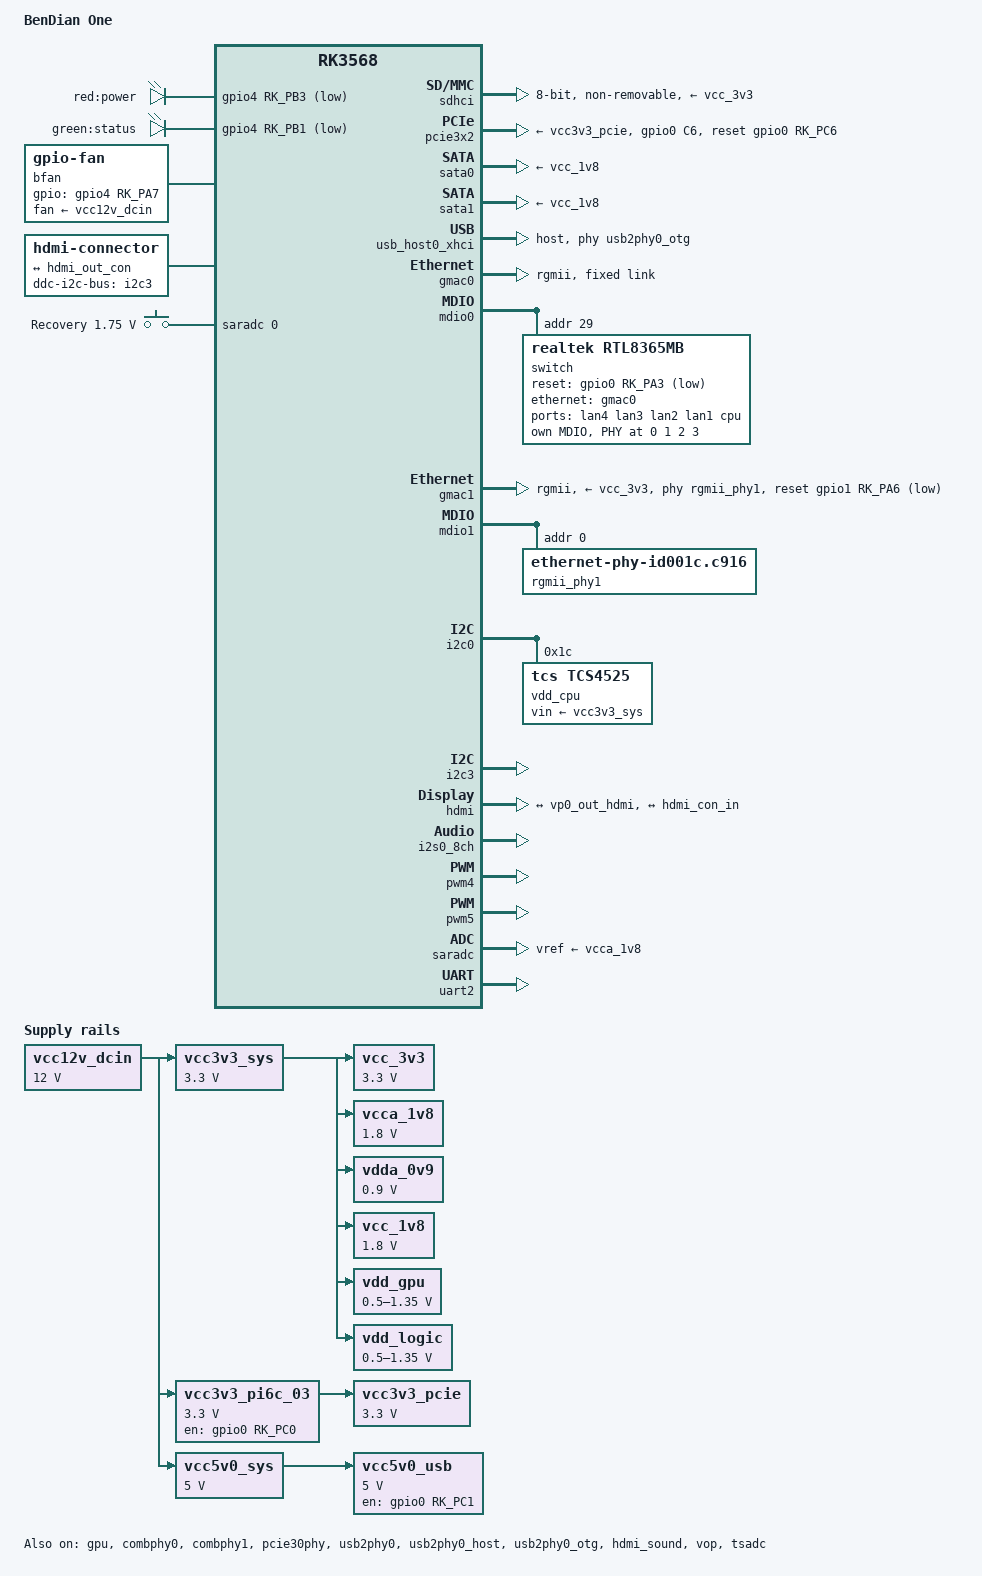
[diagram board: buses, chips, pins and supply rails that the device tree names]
// SPDX-License-Identifier: (GPL-2.0+ OR MIT)
/*
 * Ported to Linux 6.18 kernel.
 * rk3568-bd-one.k6.18v1.1-2026.09.26-cnb@srv.wang
 *
 * arch/arm64/boot/dts/rockchip/Makefile
 *   dtb-$(CONFIG_ARCH_ROCKCHIP) += rk3568-bd-one.dtb
 *
 *  GPU、SATA1、SATA2、USB、NVME、GMAC0、GMAC1、FAN、LED、温度传感器等功能已测试正常。
 *  vpu 禁用，HDMI无法正常使用。
 */

/dts-v1/;

#include <dt-bindings/gpio/gpio.h>
#include <dt-bindings/input/input.h>
#include <dt-bindings/leds/common.h>
#include <dt-bindings/pinctrl/rockchip.h>
#include <dt-bindings/soc/rockchip,vop2.h>
#include "rk3568.dtsi"
#include "rk3568-crypto.dtsi"

/ {
	model = "BenDian One";
	compatible = "bendian,bd-one", "rockchip,rk3568";

	aliases {
		ethernet0 = &gmac0;
		ethernet1 = &gmac1;
		mmc0 = &sdhci;
		led-boot     = &led_status;
		led-failsafe = &led_power;
		led-running  = &led_status;
		led-upgrade  = &led_power;
	};

	chosen {
		stdout-path = "serial2:1500000n8";
	};

	/* ---------------------------------------------------------------- */
	/*  Memory-reserved: CMA pool                                       */
	/* ---------------------------------------------------------------- */
	reserved-memory {
		#address-cells = <2>;
		#size-cells = <2>;
		ranges;

		cma: linux,cma {
			compatible = "shared-dma-pool";
			reusable;
			size = <0x0 0x10000000>;
			linux,cma-default;
		};
	};

	/* ---------------------------------------------------------------- */
	/*  LEDs                                                            */
	/* ---------------------------------------------------------------- */
	gpio-leds {
		compatible = "gpio-leds";
		pinctrl-names = "default";
		pinctrl-0 = <&power_led_pin &status_led_pin>;

		led_power: led-0 {
			label = "red:power";
			gpios = <&gpio4 RK_PB3 GPIO_ACTIVE_LOW>;
		};

		led_status: led-1 {
			label = "green:status";
			gpios = <&gpio4 RK_PB1 GPIO_ACTIVE_LOW>;
			linux,default-trigger = "heartbeat";
		};
	};

	/* ---------------------------------------------------------------- */
	/*  GPIO Fan 主板风扇 需要启用编译config：CONFIG_SENSORS_GPIO_FAN=y   */
	/* ---------------------------------------------------------------- */
	bfan: gpio-fan {
		compatible = "gpio-fan";
		fan-supply = <&vcc12v_dcin>; 
		gpios = <&gpio4 RK_PA7 GPIO_ACTIVE_HIGH>;
		gpio-fan,speed-map = <0 0 7500 1>;
		pinctrl-names = "default";
		pinctrl-0 = <&fan_pins>;
		#cooling-cells = <2>;
	};

	/* ---------------------------------------------------------------- */
	/*  HDMI connector                                                  */
	/* ---------------------------------------------------------------- */
	hdmi-con {
		compatible = "hdmi-connector";
		label = "hdmi";
		type = "a";
		status = "okay";
		ddc-i2c-bus = <&i2c3>;	/* DDC 走 I2C3，需要板子原理图确认 */

		port {
			hdmi_con_in: endpoint {
				remote-endpoint = <&hdmi_out_con>;
			};
		};
	};

	/* ---------------------------------------------------------------- */
	/*  ADC recovery button                                             */
	/* ---------------------------------------------------------------  */
	adc-keys {
		compatible = "adc-keys";
		io-channels = <&saradc 0>;
		io-channel-names = "buttons";
		keyup-threshold-microvolt = <1800000>;
		poll-interval = <100>;

		button-recovery {
			label = "Recovery";
			linux,code = <KEY_VENDOR>;
			press-threshold-microvolt = <1750000>;
		};
	};

	/* --------------------------------------------------------------- */
	/*  Power supply rails                                             */
	/* --------------------------------------------------------------- */
	vcc12v_dcin: vcc12v-dcin {
		compatible = "regulator-fixed";
		regulator-name = "vcc12v_dcin";
		regulator-always-on;
		regulator-boot-on;
		regulator-min-microvolt = <12000000>;
		regulator-max-microvolt = <12000000>;
	};

	vcc3v3_sys: vcc3v3-sys {
		compatible = "regulator-fixed";
		regulator-name = "vcc3v3_sys";
		regulator-always-on;
		regulator-boot-on;
		regulator-min-microvolt = <3300000>;
		regulator-max-microvolt = <3300000>;
		vin-supply = <&vcc12v_dcin>;
	};

	/* PCIe 3.0 SSD power:
	* GPIO0_C0 enable → vcc3v3_pi6c_03 → vcc3v3_pcie
	*/
	vcc3v3_pi6c_03: vcc3v3-pi6c-03 {
		compatible = "regulator-fixed";
		regulator-name = "vcc3v3_pi6c_03";
		enable-active-high;
		gpios = <&gpio0 RK_PC0 GPIO_ACTIVE_HIGH>;
		pinctrl-names = "default";
		pinctrl-0 = <&ssd_pwr_en>;
		regulator-min-microvolt = <3300000>;
		regulator-max-microvolt = <3300000>;
		vin-supply = <&vcc12v_dcin>;
		 /* “启动”时间等待 2000µs */
		regulator-enable-ramp-delay = <2000>;
	};

	vcc3v3_pcie: vcc3v3-pcie {
		compatible = "regulator-fixed";
		regulator-name = "vcc3v3_pcie";
		regulator-always-on;
		regulator-boot-on;
		regulator-min-microvolt = <3300000>;
		regulator-max-microvolt = <3300000>;
		vin-supply = <&vcc3v3_pi6c_03>;
	};

	vcc5v0_sys: vcc5v0-sys {
		compatible = "regulator-fixed";
		regulator-name = "vcc5v0_sys";
		regulator-always-on;
		regulator-boot-on;
		regulator-min-microvolt = <5000000>;
		regulator-max-microvolt = <5000000>;
		vin-supply = <&vcc12v_dcin>;
	};

	/* 5V USB power controlled by GPIO0_C1 */
	vcc5v0_usb: vcc5v0-usb {
		compatible = "regulator-fixed";
		regulator-name = "vcc5v0_usb";
		enable-active-high;
		gpios = <&gpio0 RK_PC1 GPIO_ACTIVE_HIGH>;
		pinctrl-names = "default";
		pinctrl-0 = <&usb_pwr_en>;
		regulator-min-microvolt = <5000000>;
		regulator-max-microvolt = <5000000>;
		vin-supply = <&vcc5v0_sys>;
	};

	vcc_3v3: vcc-3v3 {
		compatible = "regulator-fixed";
		regulator-name = "vcc_3v3";
		regulator-always-on;
		regulator-boot-on;
		regulator-min-microvolt = <3300000>;
		regulator-max-microvolt = <3300000>;
		vin-supply = <&vcc3v3_sys>;
	};

	vcca_1v8: vcca-1v8 {
		compatible = "regulator-fixed";
		regulator-name = "vcca_1v8";
		regulator-always-on;
		regulator-boot-on;
		regulator-min-microvolt = <1800000>;
		regulator-max-microvolt = <1800000>;
		vin-supply = <&vcc3v3_sys>;
	};

	vdda_0v9: vdda-0v9 {
		compatible = "regulator-fixed";
		regulator-name = "vdda_0v9";
		regulator-always-on;
		regulator-boot-on;
		regulator-min-microvolt = <900000>;
		regulator-max-microvolt = <900000>;
		vin-supply = <&vcc3v3_sys>;
	};

	/* 1.8V IO rail — board fixed regulator (NOT RK809 DCDC) */
	vcc_1v8: vcc-1v8 {
		compatible = "regulator-fixed";
		regulator-name = "vcc_1v8";
		regulator-always-on;
		regulator-boot-on;
		regulator-min-microvolt = <1800000>;
		regulator-max-microvolt = <1800000>;
		vin-supply = <&vcc3v3_sys>;
	};


	/* GPU core — PWM regulator on PWM4 (per factory DTS, NOT RK809) */
	vdd_gpu: vdd-gpu {
		compatible = "pwm-regulator";
		pwms = <&pwm4 0 5000 1>;
		pwm-supply = <&vcc3v3_sys>;
		regulator-name = "vdd_gpu";
		// regulator-always-on;
		// regulator-boot-on;
		regulator-init-microvolt = <900000>;
		regulator-min-microvolt = <500000>;
		regulator-max-microvolt = <1350000>;
		regulator-ramp-delay = <6001>;
		regulator-settling-time-up-us = <250>;
	};

	/* Logic core — PWM regulator on PWM5 (per factory DTS, NOT RK809) */
	vdd_logic: vdd-logic {
		compatible = "pwm-regulator";
		pwms = <&pwm5 0 5000 1>;
		pwm-supply = <&vcc3v3_sys>;
		regulator-name = "vdd_logic";
		// regulator-always-on;
		// regulator-boot-on;
		regulator-init-microvolt = <900000>;
		regulator-min-microvolt = <500000>;
		regulator-max-microvolt = <1350000>;
		regulator-ramp-delay = <6001>;
		regulator-settling-time-up-us = <250>;
	};
};

/* ====================================================================== */
/*  CPU / GPU power domains                                               */
/* ====================================================================== */
&cpu0 {
	cpu-supply = <&vdd_cpu>;
};

&cpu1 {
	cpu-supply = <&vdd_cpu>;
};

&cpu2 {
	cpu-supply = <&vdd_cpu>;
};

&cpu3 {
	cpu-supply = <&vdd_cpu>;
};

&gpu {
	// /delete-property/ operating-points-v2;
	mali-supply = <&vdd_gpu>;
	status = "okay";
};

/* ====================================================================== */
/*  eMMC(fe310000) -OK  use hs200 mode                                    */
/* ====================================================================== */
&sdhci {
	bus-width = <8>;
	max-frequency = <200000000>;
	non-removable;
	pinctrl-names = "default";
	pinctrl-0 = <&emmc_bus8 &emmc_clk &emmc_cmd>;
	mmc-hs200-1_8v;
	vmmc-supply = <&vcc_3v3>;
	vqmmc-supply = <&vcc_1v8>;
	status = "okay";
};

/* ====================================================================== */
/*  Combo PHYs                                                            */
/* ====================================================================== */
/* combphy0 (fe820000) —  sata0 和 usb_host0_xhci 共用                    */
&combphy0 {
	status = "okay";
};

/* combphy1 (fe830000) — sata1 使用 (PHY_TYPE_SATA) */
&combphy1 {
	status = "okay";
};

/* ====================================================================== */
/*  PCIe                                                                  */
/* ====================================================================== */
/* combphy2 (fe840000) → PCIe 2.0 (无硬件) */
// &combphy2 {
// 	status = "okay";
// };

/* PCIe 2.0 x1(fe260000) -原厂启用，但无对应硬件接口
 * 启用报：rockchip-dw-pcie 3c0000000.pcie: Phy link never came up  */
// &pcie2x1 {
// 	status = "okay";
// 	pinctrl-names = "default";
// 	pinctrl-0 = <&pcie20_reset_pin>;
// 	reset-gpios = <&gpio3 RK_PC1 GPIO_ACTIVE_HIGH>;
// 	vpcie3v3-supply = <&vcc3v3_sys>;
// };

/* pcie30phy(fe8c0000) → PCIe 3.0  */
&pcie30phy {
	data-lanes = <1 2>;
	status = "okay";
};

/* pcie3x2 (fe280000) -NVME SSD*/
&pcie3x2 {
	aspm-no-l0s;
	status = "okay";
	pinctrl-names = "default";
	pinctrl-0 = <&pcie30_reset_pin>;
	reset-gpios = <&gpio0 RK_PC6 GPIO_ACTIVE_HIGH>;
	reset-assert-us = <10000>;    /* reset 保持 10ms */
    reset-deassert-us = <10000>;  /* reset 释放后等待 10ms */
	vpcie3v3-supply = <&vcc3v3_pcie>;

};

/* ====================================================================== */
/*  SATA      2个SATA接口                                                 */
/* ====================================================================== */
/* (fc000000) */
&sata0 {
    status = "okay";
    ahci-supply = <&vcc_3v3>;
    phy-supply = <&vcc_1v8>;
};

/* (fc400000) */
&sata1 {
    status = "okay";
    ahci-supply = <&vcc_3v3>;
    phy-supply = <&vcc_1v8>;
};

// FIX:
// supply ahci not found, using dummy regulator
// supply phy not found, using dummy regulator

/* ====================================================================== */
/*  USB                                                                   */
/* ====================================================================== */
/*
 * 硬件连接（与正常固件 bdkj 对齐）：
 *   USB 3.0 Type-A 口 → DWC3 OTG (fcc00000)
 *   USB2.0 差分 → usb2phy0_otg (fe8a0000)
 *   USB3.0 SS   → combphy0     (fe820000, PHY_TYPE_USB3)
 *
 *   combphy0 同时被 sata0 (PHY_TYPE_SATA) 和usb_host0_xhci (PHY_TYPE_USB3) 引用：
 *   combphy0可能是分时复用，可以“同时”使用sata0和usb接口，也可能只能使用USB2.0
 *启用内核编译 config:
 *CONFIG_USB_DWC3_OF_SIMPLE=y    # 内置，开机即probe
 *CONFIG_USB_DWC3_HOST=y
 */
/* (fe8a0000) */
&usb2phy0 {
	status = "okay";
};

&usb2phy0_host {
	status = "okay";
	phy-supply = <&vcc5v0_usb>;
};

&usb2phy0_otg {
	status = "okay";
	phy-supply = <&vcc5v0_usb>;
};
/* (fcc00000) */
&usb_host0_xhci {
	status = "okay";
	dr_mode = "host";
	/* USB2.0 → usb2phy0_otg; USB3.0 SS → combphy0 */
	phys = <&usb2phy0_otg>, <&combphy0 PHY_TYPE_USB3>;
	phy-names = "usb2-phy", "usb3-phy";
	extcon = <&usb2phy0>;
};

/* usb2phy1(fe8b0000) 未连接到物理 USB 口，保持禁用（与厂家固件一致） */
// &usb2phy1 {
// 	status = "okay";
// };

// &usb2phy1_host {
// 	phy-supply = <&vcc5v0_usb>;
// 	status = "okay";
// };

// &usb2phy1_otg {
// 	status = "okay";
// };

/* 原厂未启用前3项，启用EHCI/OHCI 日志报：
* platform fd800000.usb: deferred probe pending
* EHCI/OHCI 挂在 usb2phy1_otg 上，物理口未连接，禁用 
*/
// /* (fd800000) */
// &usb_host0_ehci {
// 	status = "okay";
// };

// /* (fd840000) */
// &usb_host0_ohci {
// 	status = "okay";
// };

/* ====================================================================== */
/*  Ethernet                                                              */
/* ====================================================================== */
/*
 * GMAC0(fe2a0000) — connected to RTL8365MB 5-port switch
 * 4× LAN ports (lan1~lan4) + 1× CPU port (port7, fixed 1Gbps)
 */
&gmac0 {
	assigned-clocks = <&cru SCLK_GMAC0_RX_TX>, <&cru CLK_MAC0_OUT>;
	assigned-clock-parents = <&cru SCLK_GMAC0_RGMII_SPEED>;
	assigned-clock-rates = <0>, <125000000>;
	clock_in_out = "output";
	phy-mode = "rgmii";
	pinctrl-names = "default";
	pinctrl-0 = <&gmac0_miim
		     &gmac0_tx_bus2
		     &gmac0_rx_bus2
		     &gmac0_rgmii_clk
		     &gmac0_rgmii_bus>;
	tx_delay = <0x4f>;
	rx_delay = <0x0f>;
	status = "okay";

	/* 无【fixed-link】会导致rtl8365mb-mdio stmmac-0报错，无法正常使用*/
	fixed-link {
		speed = <1000>;
		full-duplex;
	};
};

&mdio0 {
	compatible = "snps,dwmac-mdio";
	#address-cells = <1>;
	#size-cells = <0>;

	/* RTL8365MB 5-port switch */
	switch@1d {
		compatible = "realtek,rtl8365mb";
		reg = <0x1d>;
		reset-gpios = <&gpio0 RK_PA3 GPIO_ACTIVE_LOW>;
		reset-delays-us = <0 10000 50000>;

		switch_intc: interrupt-controller {
			interrupt-controller;
			#address-cells = <0>;
			#interrupt-cells = <1>;
			interrupt-parent = <&gpio0>;
			interrupts = <RK_PA4 IRQ_TYPE_LEVEL_LOW>;
		};

		/*
		 * 6.18 内核要求 switch 节点下显式声明内部 MDIO 总线
		 * 及每个端口的 PHY，旧的隐式 1:1 映射已废弃。
		 */
		mdio {
			#address-cells = <1>;
			#size-cells = <0>;

			switch_phy0: ethernet-phy@0 {
				reg = <0>;
			};
			switch_phy1: ethernet-phy@1 {
				reg = <1>;
			};
			switch_phy2: ethernet-phy@2 {
				reg = <2>;
			};
			switch_phy3: ethernet-phy@3 {
				reg = <3>;
			};
		};

		ports {
			#address-cells = <1>;
			#size-cells = <0>;

			port@0 {
				reg = <0>;
				label = "lan4";
				phy-handle = <&switch_phy0>;
			};

			port@1 {
				reg = <1>;
				label = "lan3";
				phy-handle = <&switch_phy1>;
			};

			port@2 {
				reg = <2>;
				label = "lan2";
				phy-handle = <&switch_phy2>;
			};

			port@3 {
				reg = <3>;
				label = "lan1";
				phy-handle = <&switch_phy3>;
			};

			port@7 {
				reg = <7>;
				label = "cpu";
				ethernet = <&gmac0>;
				phy-mode = "rgmii";

				fixed-link {
					speed = <1000>;
					full-duplex;
				};
			};
		};
	};
};

/*
 * GMAC1(fe010000) — direct RTL8211 PHY (1× WAN)
 */
&gmac1 {
	assigned-clocks = <&cru SCLK_GMAC1_RX_TX>, <&cru CLK_MAC1_OUT>;
	assigned-clock-parents = <&cru SCLK_GMAC1_RGMII_SPEED>;
	assigned-clock-rates = <0>, <125000000>;
	clock_in_out = "output";
	phy-mode = "rgmii";
	phy-handle = <&rgmii_phy1>;
	phy-supply = <&vcc_3v3>;
	pinctrl-names = "default";
	pinctrl-0 = <&gmac1m0_miim
		     &gmac1m0_tx_bus2
		     &gmac1m0_rx_bus2
		     &gmac1m0_rgmii_clk
		     &gmac1m0_rgmii_bus>;
	snps,reset-gpio = <&gpio1 RK_PA6 GPIO_ACTIVE_LOW>;
	snps,reset-active-low;
	snps,reset-delays-us = <0 20000 100000>;
	tx_delay = <0x4f>;
	rx_delay = <0x0f>;
	status = "okay";
};

&mdio1 {
	rgmii_phy1: ethernet-phy@0 {
		compatible = "ethernet-phy-id001c.c916",
		             "ethernet-phy-ieee802.3-c22";
		reg = <0>;
		realtek,led-data = <0x17b>;

/* "realtek,led-data" 默认不支持，需要给驱动添加 rtl821x_led_of_init 函数，否则【LED不亮】
*===========================================================================*
From ecbd3793bfe80ffd8aef67070800a04b0791e7e0 Mon Sep 17 00:00:00 2001
From: cnb <50577371+icnbing@users.noreply.github.com>
Date: Mon, 21 Sep 2026 21:41:30 +0800
Subject: [PATCH] Update realtek_main.c

add 	rtl821x_led_of_init for RTL8211F LED
---
 drivers/net/phy/realtek/realtek_main.c | 11 +++++++++++
 1 file changed, 11 insertions(+)

diff --git a/drivers/net/phy/realtek/realtek_main.c b/drivers/net/phy/realtek/realtek_main.c
index a4020160f1..8d757c6dee 100644
--- a/drivers/net/phy/realtek/realtek_main.c
+++ b/drivers/net/phy/realtek/realtek_main.c
@@ -345,6 +345,15 @@ static int rtl821x_modify_ext_page(struct phy_device *phydev, u16 ext_page,
 	return phy_restore_page(phydev, oldpage, ret);
 }
 
+static void rtl821x_led_of_init(struct phy_device *phydev)
+{
+	struct device *dev = &phydev->mdio.dev;
+	u32 val;
+
+	if (!of_property_read_u32(dev->of_node, "realtek,led-data", &val))
+		phy_write_paged(phydev, 0xd04, 0x10, val);
+}
+
 static int rtl821x_probe(struct phy_device *phydev)
 {
 	struct device *dev = &phydev->mdio.dev;
@@ -815,6 +824,8 @@ static int rtl8211f_config_init(struct phy_device *phydev)
 	if (ret)
 		return ret;
 
+	rtl821x_led_of_init(phydev);
+	
 	ret = rtl8211f_config_clk_out(phydev);
 	if (ret) {
 		dev_err(dev, "clkout configuration failed: %pe\n",
*==========================================================================*/
	};
};

/* ====================================================================== */
/*  I2C0(fdd40000) — CPU voltage regulator (TCS4525)                      */
/* ====================================================================== */
&i2c0 {
	status = "okay";

	vdd_cpu: regulator@1c {
		compatible = "tcs,tcs4525";
		reg = <0x1c>;
		fcs,suspend-voltage-selector = <1>;
		regulator-name = "vdd_cpu";
		regulator-always-on;
		regulator-boot-on;
		regulator-init-microvolt = <900000>;
		regulator-min-microvolt = <712500>;
		regulator-max-microvolt = <1390000>;
		regulator-ramp-delay = <2300>;
		vin-supply = <&vcc3v3_sys>;

		regulator-state-mem {
			regulator-off-in-suspend;
		};
	};

};

/* ====================================================================== */
/*  I2C3(fe5c0000) — board peripherals                                    */
/* ====================================================================== */
&i2c3 {
	status = "okay";
};

/* ====================================================================== */
/*  HDMI(fe0a0000)                                                        */
/* ====================================================================== */
&hdmi {
	avdd-0v9-supply = <&vdda_0v9>;
	avdd-1v8-supply = <&vcca_1v8>;
	ddc-i2c-bus = <&i2c3>;		/* 与 hdmi-con 保持一致 */
	status = "okay";

	ports {
		#address-cells = <1>;
		#size-cells = <0>;

		/* port@0 = 输入：从 VOP0 收视频数据 */
		port@0 {
			reg = <0>;
			#address-cells = <1>;
			#size-cells = <0>;

			hdmi_in_vp0: endpoint@0 {
				reg = <0>;
				remote-endpoint = <&vp0_out_hdmi>;
			};
		};

		/* port@1 = 输出：送到 HDMI 连接器 */
		port@1 {
			reg = <1>;
			#address-cells = <1>;
			#size-cells = <0>;

			hdmi_out_con: endpoint@0 {
				reg = <0>;
				remote-endpoint = <&hdmi_con_in>;
			};
		};
	};
};

&hdmi_sound {
	status = "okay";
};

/* ====================================================================== */
/*  VOP (fe040000)   --视频输出处理                                        */
/* ====================================================================== */
&vop {
	compatible = "rockchip,rk3568-vop";
	assigned-clocks = <&cru DCLK_VOP0>, <&cru DCLK_VOP1>;
	assigned-clock-parents = <&pmucru PLL_HPLL>, <&cru CLK_RTC_32K>;
	status = "okay";
};

&vp0 {
	vp0_out_hdmi: endpoint@ROCKCHIP_VOP2_EP_HDMI0 {
		reg = <ROCKCHIP_VOP2_EP_HDMI0>;
		remote-endpoint = <&hdmi_in_vp0>;
	};
};

&vop_mmu {
	status = "okay";
};

/* ====================================================================== */
/*  Audio (I2S0 → HDMI)  (fe400000)                                       */
/* ====================================================================== */
&i2s0_8ch {
	#sound-dai-cells = <0>;
	status = "okay";
};

/* ====================================================================== */
/*  PWM regulators   (fe6e0000/fe6e0010) 脉冲宽度调制器                    */
/* ====================================================================== */
&pwm4 {
	status = "okay";
};

&pwm5 {
	status = "okay";
};

/* ====================================================================== */
/*  Thermal / TSADC (fe710000)   -温度传感器                               */
/* ====================================================================== */
&tsadc {
	rockchip,hw-tshut-mode = <1>;    /* CRU reset */
	rockchip,hw-tshut-polarity = <0>;/* active low */
	status = "okay";
};

&cpu_thermal {

	trips {
		cpu_trip_active_low: cpu-trip-active-low {
			temperature = <55000>;
			hysteresis = <2000>;
			type = "active";
		};

		cpu_trip_active_med: cpu-trip-active-med {
			temperature = <70000>;
			hysteresis = <2000>;
			type = "active";
		};

		cpu_trip_active_high: cpu-trip-active-high {
			temperature = <85000>;
			hysteresis = <2000>;
			type = "hot";
		};
	};

	cooling-maps {

		cpu-active-low {
			cooling-device = <&bfan 1 1>;
			trip = <&cpu_trip_active_low>;
		};

		cpu-active-med {
			cooling-device = <&bfan 1 1>;
			trip = <&cpu_trip_active_med>;
		};

		cpu-active-high {
			cooling-device = <&bfan 1 1>;
			trip = <&cpu_trip_active_high>;
		};
	};
};

/* ====================================================================== */
/*  SARADC (fe720000)  Rest/Recovery 按键                                 */
/* ====================================================================== */
&saradc {
	vref-supply = <&vcca_1v8>;
	status = "okay";
};

/* ====================================================================== */
/*  Crypto / RNG                                                          */
/* ====================================================================== */
// rk3568-crypto.dtsi中已启用。
// &crypto {
// 	status = "okay";
// };

// &rng {
// 	status = "okay";
// };

/* ====================================================================== */
/*  IO Domains (PMU GRF)                                                  */
/* ====================================================================== */
&pmu_io_domains {
	compatible = "rockchip,rk3568-pmu-io-voltage-domain";
	status = "okay";
	pmuio1-supply = <&vcc_3v3>;
	pmuio2-supply = <&vcc_3v3>;
	vccio1-supply = <&vcc_3v3>;
	vccio2-supply = <&vcc_1v8>;
	vccio3-supply = <&vcc_3v3>;
	vccio4-supply = <&vcc_3v3>;
	vccio5-supply = <&vcc_3v3>;
	vccio6-supply = <&vcc_3v3>;
	vccio7-supply = <&vcc_3v3>;
};

/* ====================================================================== */
/*  UART2 — debug console                                                 */
/* ====================================================================== */
&uart2 {
	status = "okay";
};

/* ====================================================================== */
/*  VPU —fix:power domain sync_state() pending due to fdea0000.video-codec*/
/* ====================================================================== */
&vpu { status = "disabled"; };
&vdec { status = "disabled"; };
&vepu { status = "disabled"; };

/* ====================================================================== */
/*  Pinctrl additions                                                     */
/* ====================================================================== */
&pinctrl {

	fan {
		fan_pins: fan-pins {
			rockchip,pins = <4 RK_PA7 RK_FUNC_GPIO &pcfg_pull_none>;
		};
	};

	gpio-leds {
		power_led_pin: power-led-pin {
			rockchip,pins = <4 RK_PB3 RK_FUNC_GPIO &pcfg_pull_none>;
		};

		status_led_pin: status-led-pin {
			rockchip,pins = <4 RK_PB1 RK_FUNC_GPIO &pcfg_pull_none>;
		};
	};

	pcie20 {
		pcie20_reset_pin: pcie20-reset-pin {
			rockchip,pins = <3 RK_PC1 RK_FUNC_GPIO &pcfg_pull_down>;
		};
	};

	pcie30 {
		pcie30_reset_pin: pcie30-reset-pin {
			rockchip,pins = <0 RK_PC6 RK_FUNC_GPIO &pcfg_pull_down>;
		};

		ssd_pwr_en: ssd-pwr-en {
			rockchip,pins = <0 RK_PC0 RK_FUNC_GPIO &pcfg_pull_down>;
		};
	};

	usb {
		usb_pwr_en: usb-pwr-en {
			rockchip,pins = <0 RK_PC1 RK_FUNC_GPIO &pcfg_pull_down>;
		};
	};
};
